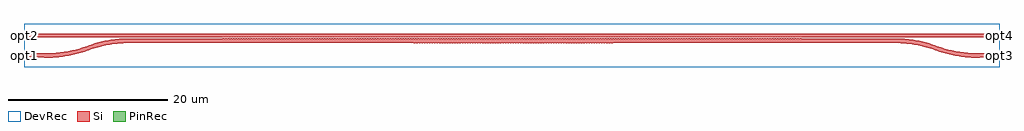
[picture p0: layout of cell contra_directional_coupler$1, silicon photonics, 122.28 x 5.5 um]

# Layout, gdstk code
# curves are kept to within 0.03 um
import gdstk
lib = gdstk.Library(unit=1e-6, precision=1e-09)
def R(c, l, rs):  # rectangles x0, y0, x1, y1
    for r in rs: c.add(gdstk.rectangle(r[:2], r[2:], *l))
def A(c, l, x, y, w, h, nx, ny, dx, dy):  # array of equal rectangles
    R(c, l, [(x+i*dx, y+j*dy, x+i*dx+w, y+j*dy+h) for i in range(nx) for j in range(ny)])
def P(c, l, *ps):  # polygons
    for p in ps: c.add(gdstk.Polygon(p, *l))
Si = (1, 0)
PinRec = (1, 10)
DevRec = (68, 0)

contra_directional_coupl = lib.new_cell('contra_directional_coupler$1')
A(contra_directional_coupl, Si, 43.587, -0.64, 0.158, 0.29, 27, 1, 0.317, 0)
A(contra_directional_coupl, Si, 40.1, -0.639, 0.158, 0.289, 11, 1, 0.317, 0)
A(contra_directional_coupl, Si, 52.146, -0.639, 0.158, 0.289, 11, 1, 0.317, 0)
A(contra_directional_coupl, Si, 37.564, -0.638, 0.158, 0.288, 8, 1, 0.317, 0)
A(contra_directional_coupl, Si, 55.633, -0.638, 0.158, 0.288, 8, 1, 0.317, 0)
A(contra_directional_coupl, Si, 35.345, -0.637, 0.158, 0.287, 7, 1, 0.317, 0)
A(contra_directional_coupl, Si, 58.169, -0.637, 0.158, 0.287, 7, 1, 0.317, 0)
A(contra_directional_coupl, Si, 33.443, -0.636, 0.158, 0.286, 6, 1, 0.317, 0)
A(contra_directional_coupl, Si, 60.388, -0.636, 0.158, 0.286, 6, 1, 0.317, 0)
A(contra_directional_coupl, Si, 31.541, -0.635, 0.158, 0.285, 6, 1, 0.317, 0)
A(contra_directional_coupl, Si, 62.29, -0.635, 0.158, 0.285, 6, 1, 0.317, 0)
A(contra_directional_coupl, Si, 29.639, -0.634, 0.158, 0.284, 6, 1, 0.317, 0)
A(contra_directional_coupl, Si, 64.192, -0.634, 0.158, 0.284, 6, 1, 0.317, 0)
A(contra_directional_coupl, Si, 27.737, -0.633, 0.158, 0.283, 6, 1, 0.317, 0)
A(contra_directional_coupl, Si, 66.094, -0.633, 0.158, 0.283, 6, 1, 0.317, 0)
A(contra_directional_coupl, Si, 25.835, -0.632, 0.158, 0.282, 6, 1, 0.317, 0)
A(contra_directional_coupl, Si, 67.996, -0.632, 0.158, 0.282, 6, 1, 0.317, 0)
A(contra_directional_coupl, Si, 23.933, -0.631, 0.158, 0.281, 6, 1, 0.317, 0)
A(contra_directional_coupl, Si, 69.898, -0.631, 0.158, 0.281, 6, 1, 0.317, 0)
A(contra_directional_coupl, Si, 21.397, -0.63, 0.158, 0.28, 8, 1, 0.317, 0)
A(contra_directional_coupl, Si, 71.8, -0.63, 0.158, 0.28, 8, 1, 0.317, 0)
A(contra_directional_coupl, Si, 18.861, -0.629, 0.158, 0.279, 8, 1, 0.317, 0)
A(contra_directional_coupl, Si, 74.336, -0.629, 0.158, 0.279, 8, 1, 0.317, 0)
A(contra_directional_coupl, Si, 15.691, -0.628, 0.158, 0.278, 10, 1, 0.317, 0)
A(contra_directional_coupl, Si, 76.872, -0.628, 0.158, 0.278, 10, 1, 0.317, 0)
A(contra_directional_coupl, Si, 11.57, -0.627, 0.158, 0.277, 13, 1, 0.317, 0)
A(contra_directional_coupl, Si, 80.042, -0.627, 0.158, 0.277, 13, 1, 0.317, 0)
A(contra_directional_coupl, Si, 3.645, -0.626, 0.158, 0.276, 25, 1, 0.317, 0)
A(contra_directional_coupl, Si, 84.163, -0.626, 0.158, 0.276, 25, 1, 0.317, 0)
A(contra_directional_coupl, Si, 0.158, -0.625, 0.158, 0.275, 11, 1, 0.317, 0)
A(contra_directional_coupl, Si, 0.316, -0.625, 0.159, 0.275, 11, 1, 0.317, 0)
A(contra_directional_coupl, Si, 92.088, -0.625, 0.158, 0.275, 10, 1, 0.317, 0)
A(contra_directional_coupl, Si, 92.246, -0.625, 0.159, 0.275, 10, 1, 0.317, 0)
A(contra_directional_coupl, Si, 3.803, -0.624, 0.159, 0.274, 25, 1, 0.317, 0)
A(contra_directional_coupl, Si, 84.321, -0.624, 0.159, 0.274, 25, 1, 0.317, 0)
A(contra_directional_coupl, Si, 11.728, -0.623, 0.159, 0.273, 13, 1, 0.317, 0)
A(contra_directional_coupl, Si, 80.2, -0.623, 0.159, 0.273, 13, 1, 0.317, 0)
A(contra_directional_coupl, Si, 15.849, -0.622, 0.159, 0.272, 10, 1, 0.317, 0)
A(contra_directional_coupl, Si, 77.03, -0.622, 0.159, 0.272, 10, 1, 0.317, 0)
A(contra_directional_coupl, Si, 19.019, -0.621, 0.159, 0.271, 8, 1, 0.317, 0)
A(contra_directional_coupl, Si, 74.494, -0.621, 0.159, 0.271, 8, 1, 0.317, 0)
A(contra_directional_coupl, Si, 21.555, -0.62, 0.159, 0.27, 8, 1, 0.317, 0)
A(contra_directional_coupl, Si, 71.958, -0.62, 0.159, 0.27, 8, 1, 0.317, 0)
A(contra_directional_coupl, Si, 24.091, -0.619, 0.159, 0.269, 6, 1, 0.317, 0)
A(contra_directional_coupl, Si, 70.056, -0.619, 0.159, 0.269, 6, 1, 0.317, 0)
A(contra_directional_coupl, Si, 25.993, -0.618, 0.159, 0.268, 6, 1, 0.317, 0)
A(contra_directional_coupl, Si, 68.154, -0.618, 0.159, 0.268, 6, 1, 0.317, 0)
A(contra_directional_coupl, Si, 27.895, -0.617, 0.159, 0.267, 6, 1, 0.317, 0)
A(contra_directional_coupl, Si, 66.252, -0.617, 0.159, 0.267, 6, 1, 0.317, 0)
A(contra_directional_coupl, Si, 29.797, -0.616, 0.159, 0.266, 6, 1, 0.317, 0)
A(contra_directional_coupl, Si, 64.35, -0.616, 0.159, 0.266, 6, 1, 0.317, 0)
A(contra_directional_coupl, Si, 31.699, -0.615, 0.159, 0.265, 6, 1, 0.317, 0)
A(contra_directional_coupl, Si, 62.448, -0.615, 0.159, 0.265, 6, 1, 0.317, 0)
A(contra_directional_coupl, Si, 33.601, -0.614, 0.159, 0.264, 6, 1, 0.317, 0)
A(contra_directional_coupl, Si, 60.546, -0.614, 0.159, 0.264, 6, 1, 0.317, 0)
A(contra_directional_coupl, Si, 35.503, -0.613, 0.159, 0.263, 7, 1, 0.317, 0)
A(contra_directional_coupl, Si, 58.327, -0.613, 0.159, 0.263, 7, 1, 0.317, 0)
A(contra_directional_coupl, Si, 37.722, -0.612, 0.159, 0.262, 8, 1, 0.317, 0)
A(contra_directional_coupl, Si, 55.791, -0.612, 0.159, 0.262, 8, 1, 0.317, 0)
A(contra_directional_coupl, Si, 40.258, -0.611, 0.159, 0.261, 11, 1, 0.317, 0)
A(contra_directional_coupl, Si, 52.304, -0.611, 0.159, 0.261, 11, 1, 0.317, 0)
A(contra_directional_coupl, Si, 43.745, -0.61, 0.159, 0.26, 27, 1, 0.317, 0)
A(contra_directional_coupl, Si, 0, -0.35, 0.158, 0.275, 11, 1, 0.317, 0)
A(contra_directional_coupl, Si, 0.158, -0.35, 0.159, 0.275, 11, 1, 0.317, 0)
A(contra_directional_coupl, Si, 3.487, -0.35, 0.158, 0.276, 25, 1, 0.317, 0)
A(contra_directional_coupl, Si, 3.645, -0.35, 0.159, 0.274, 25, 1, 0.317, 0)
A(contra_directional_coupl, Si, 11.412, -0.35, 0.158, 0.277, 13, 1, 0.317, 0)
A(contra_directional_coupl, Si, 11.57, -0.35, 0.159, 0.273, 13, 1, 0.317, 0)
A(contra_directional_coupl, Si, 15.533, -0.35, 0.158, 0.278, 10, 1, 0.317, 0)
A(contra_directional_coupl, Si, 15.691, -0.35, 0.159, 0.272, 10, 1, 0.317, 0)
A(contra_directional_coupl, Si, 18.703, -0.35, 0.158, 0.279, 8, 1, 0.317, 0)
A(contra_directional_coupl, Si, 18.861, -0.35, 0.159, 0.271, 8, 1, 0.317, 0)
A(contra_directional_coupl, Si, 21.239, -0.35, 0.158, 0.28, 8, 1, 0.317, 0)
A(contra_directional_coupl, Si, 21.397, -0.35, 0.159, 0.27, 8, 1, 0.317, 0)
A(contra_directional_coupl, Si, 23.775, -0.35, 0.158, 0.281, 6, 1, 0.317, 0)
A(contra_directional_coupl, Si, 23.933, -0.35, 0.159, 0.269, 6, 1, 0.317, 0)
A(contra_directional_coupl, Si, 25.677, -0.35, 0.158, 0.282, 6, 1, 0.317, 0)
A(contra_directional_coupl, Si, 25.835, -0.35, 0.159, 0.268, 6, 1, 0.317, 0)
A(contra_directional_coupl, Si, 27.579, -0.35, 0.158, 0.283, 6, 1, 0.317, 0)
A(contra_directional_coupl, Si, 27.737, -0.35, 0.159, 0.267, 6, 1, 0.317, 0)
A(contra_directional_coupl, Si, 29.481, -0.35, 0.158, 0.284, 6, 1, 0.317, 0)
A(contra_directional_coupl, Si, 29.639, -0.35, 0.159, 0.266, 6, 1, 0.317, 0)
A(contra_directional_coupl, Si, 31.383, -0.35, 0.158, 0.285, 6, 1, 0.317, 0)
A(contra_directional_coupl, Si, 31.541, -0.35, 0.159, 0.265, 6, 1, 0.317, 0)
A(contra_directional_coupl, Si, 33.285, -0.35, 0.158, 0.286, 6, 1, 0.317, 0)
A(contra_directional_coupl, Si, 33.443, -0.35, 0.159, 0.264, 6, 1, 0.317, 0)
A(contra_directional_coupl, Si, 35.187, -0.35, 0.158, 0.287, 7, 1, 0.317, 0)
A(contra_directional_coupl, Si, 35.345, -0.35, 0.159, 0.263, 7, 1, 0.317, 0)
A(contra_directional_coupl, Si, 37.406, -0.35, 0.158, 0.288, 8, 1, 0.317, 0)
A(contra_directional_coupl, Si, 37.564, -0.35, 0.159, 0.262, 8, 1, 0.317, 0)
A(contra_directional_coupl, Si, 39.942, -0.35, 0.158, 0.289, 11, 1, 0.317, 0)
A(contra_directional_coupl, Si, 40.1, -0.35, 0.159, 0.261, 11, 1, 0.317, 0)
A(contra_directional_coupl, Si, 43.429, -0.35, 0.158, 0.29, 27, 1, 0.317, 0)
A(contra_directional_coupl, Si, 43.587, -0.35, 0.159, 0.26, 27, 1, 0.317, 0)
A(contra_directional_coupl, Si, 51.988, -0.35, 0.158, 0.289, 11, 1, 0.317, 0)
A(contra_directional_coupl, Si, 52.146, -0.35, 0.159, 0.261, 11, 1, 0.317, 0)
A(contra_directional_coupl, Si, 55.475, -0.35, 0.158, 0.288, 8, 1, 0.317, 0)
A(contra_directional_coupl, Si, 55.633, -0.35, 0.159, 0.262, 8, 1, 0.317, 0)
A(contra_directional_coupl, Si, 58.011, -0.35, 0.158, 0.287, 7, 1, 0.317, 0)
A(contra_directional_coupl, Si, 58.169, -0.35, 0.159, 0.263, 7, 1, 0.317, 0)
A(contra_directional_coupl, Si, 60.23, -0.35, 0.158, 0.286, 6, 1, 0.317, 0)
A(contra_directional_coupl, Si, 60.388, -0.35, 0.159, 0.264, 6, 1, 0.317, 0)
A(contra_directional_coupl, Si, 62.132, -0.35, 0.158, 0.285, 6, 1, 0.317, 0)
A(contra_directional_coupl, Si, 62.29, -0.35, 0.159, 0.265, 6, 1, 0.317, 0)
A(contra_directional_coupl, Si, 64.034, -0.35, 0.158, 0.284, 6, 1, 0.317, 0)
A(contra_directional_coupl, Si, 64.192, -0.35, 0.159, 0.266, 6, 1, 0.317, 0)
A(contra_directional_coupl, Si, 65.936, -0.35, 0.158, 0.283, 6, 1, 0.317, 0)
A(contra_directional_coupl, Si, 66.094, -0.35, 0.159, 0.267, 6, 1, 0.317, 0)
A(contra_directional_coupl, Si, 67.838, -0.35, 0.158, 0.282, 6, 1, 0.317, 0)
A(contra_directional_coupl, Si, 67.996, -0.35, 0.159, 0.268, 6, 1, 0.317, 0)
A(contra_directional_coupl, Si, 69.74, -0.35, 0.158, 0.281, 6, 1, 0.317, 0)
A(contra_directional_coupl, Si, 69.898, -0.35, 0.159, 0.269, 6, 1, 0.317, 0)
A(contra_directional_coupl, Si, 71.642, -0.35, 0.158, 0.28, 8, 1, 0.317, 0)
A(contra_directional_coupl, Si, 71.8, -0.35, 0.159, 0.27, 8, 1, 0.317, 0)
A(contra_directional_coupl, Si, 74.178, -0.35, 0.158, 0.279, 8, 1, 0.317, 0)
A(contra_directional_coupl, Si, 74.336, -0.35, 0.159, 0.271, 8, 1, 0.317, 0)
A(contra_directional_coupl, Si, 76.714, -0.35, 0.158, 0.278, 10, 1, 0.317, 0)
A(contra_directional_coupl, Si, 76.872, -0.35, 0.159, 0.272, 10, 1, 0.317, 0)
A(contra_directional_coupl, Si, 79.884, -0.35, 0.158, 0.277, 13, 1, 0.317, 0)
A(contra_directional_coupl, Si, 80.042, -0.35, 0.159, 0.273, 13, 1, 0.317, 0)
A(contra_directional_coupl, Si, 84.005, -0.35, 0.158, 0.276, 25, 1, 0.317, 0)
A(contra_directional_coupl, Si, 84.163, -0.35, 0.159, 0.274, 25, 1, 0.317, 0)
A(contra_directional_coupl, Si, 91.93, -0.35, 0.158, 0.275, 11, 1, 0.317, 0)
A(contra_directional_coupl, Si, 92.088, -0.35, 0.159, 0.275, 10, 1, 0.317, 0)
A(contra_directional_coupl, Si, 42.161, 0.056, 0.158, 0.244, 17, 1, 0.317, 0)
A(contra_directional_coupl, Si, 47.867, 0.056, 0.158, 0.244, 17, 1, 0.317, 0)
A(contra_directional_coupl, Si, 39.942, 0.057, 0.158, 0.243, 7, 1, 0.317, 0)
A(contra_directional_coupl, Si, 53.256, 0.057, 0.158, 0.243, 7, 1, 0.317, 0)
A(contra_directional_coupl, Si, 38.04, 0.058, 0.158, 0.242, 6, 1, 0.317, 0)
A(contra_directional_coupl, Si, 55.475, 0.058, 0.158, 0.242, 6, 1, 0.317, 0)
A(contra_directional_coupl, Si, 36.455, 0.059, 0.158, 0.241, 5, 1, 0.317, 0)
A(contra_directional_coupl, Si, 57.377, 0.059, 0.158, 0.241, 5, 1, 0.317, 0)
A(contra_directional_coupl, Si, 34.87, 0.06, 0.158, 0.24, 5, 1, 0.317, 0)
A(contra_directional_coupl, Si, 58.962, 0.06, 0.158, 0.24, 5, 1, 0.317, 0)
A(contra_directional_coupl, Si, 33.285, 0.061, 0.158, 0.239, 5, 1, 0.317, 0)
A(contra_directional_coupl, Si, 60.547, 0.061, 0.158, 0.239, 5, 1, 0.317, 0)
A(contra_directional_coupl, Si, 32.017, 0.062, 0.158, 0.238, 4, 1, 0.317, 0)
A(contra_directional_coupl, Si, 62.132, 0.062, 0.158, 0.238, 4, 1, 0.317, 0)
A(contra_directional_coupl, Si, 30.432, 0.063, 0.158, 0.237, 5, 1, 0.317, 0)
A(contra_directional_coupl, Si, 63.4, 0.063, 0.158, 0.237, 5, 1, 0.317, 0)
A(contra_directional_coupl, Si, 29.164, 0.064, 0.158, 0.236, 4, 1, 0.317, 0)
A(contra_directional_coupl, Si, 64.985, 0.064, 0.158, 0.236, 4, 1, 0.317, 0)
A(contra_directional_coupl, Si, 27.579, 0.065, 0.158, 0.235, 5, 1, 0.317, 0)
A(contra_directional_coupl, Si, 66.253, 0.065, 0.158, 0.235, 5, 1, 0.317, 0)
A(contra_directional_coupl, Si, 26.311, 0.066, 0.158, 0.234, 4, 1, 0.317, 0)
A(contra_directional_coupl, Si, 67.838, 0.066, 0.158, 0.234, 4, 1, 0.317, 0)
A(contra_directional_coupl, Si, 24.726, 0.067, 0.158, 0.233, 5, 1, 0.317, 0)
A(contra_directional_coupl, Si, 69.106, 0.067, 0.158, 0.233, 5, 1, 0.317, 0)
A(contra_directional_coupl, Si, 23.141, 0.068, 0.158, 0.232, 5, 1, 0.317, 0)
A(contra_directional_coupl, Si, 70.691, 0.068, 0.158, 0.232, 5, 1, 0.317, 0)
A(contra_directional_coupl, Si, 21.239, 0.069, 0.158, 0.231, 6, 1, 0.317, 0)
A(contra_directional_coupl, Si, 72.276, 0.069, 0.158, 0.231, 6, 1, 0.317, 0)
A(contra_directional_coupl, Si, 19.337, 0.07, 0.158, 0.23, 6, 1, 0.317, 0)
A(contra_directional_coupl, Si, 74.178, 0.07, 0.158, 0.23, 6, 1, 0.317, 0)
A(contra_directional_coupl, Si, 17.118, 0.071, 0.158, 0.229, 7, 1, 0.317, 0)
A(contra_directional_coupl, Si, 76.08, 0.071, 0.158, 0.229, 7, 1, 0.317, 0)
A(contra_directional_coupl, Si, 14.582, 0.072, 0.158, 0.228, 8, 1, 0.317, 0)
A(contra_directional_coupl, Si, 78.299, 0.072, 0.158, 0.228, 8, 1, 0.317, 0)
A(contra_directional_coupl, Si, 11.412, 0.073, 0.158, 0.227, 10, 1, 0.317, 0)
A(contra_directional_coupl, Si, 80.835, 0.073, 0.158, 0.227, 10, 1, 0.317, 0)
A(contra_directional_coupl, Si, 6.023, 0.074, 0.158, 0.226, 17, 1, 0.317, 0)
A(contra_directional_coupl, Si, 84.005, 0.074, 0.158, 0.226, 17, 1, 0.317, 0)
A(contra_directional_coupl, Si, 0, 0.075, 0.158, 0.225, 19, 1, 0.317, 0)
A(contra_directional_coupl, Si, 89.394, 0.075, 0.158, 0.225, 19, 1, 0.317, 0)
A(contra_directional_coupl, Si, 0.158, 0.076, 0.159, 0.224, 19, 1, 0.317, 0)
A(contra_directional_coupl, Si, 89.552, 0.076, 0.159, 0.224, 18, 1, 0.317, 0)
A(contra_directional_coupl, Si, 6.181, 0.077, 0.159, 0.223, 17, 1, 0.317, 0)
A(contra_directional_coupl, Si, 84.163, 0.077, 0.159, 0.223, 17, 1, 0.317, 0)
A(contra_directional_coupl, Si, 11.57, 0.078, 0.159, 0.222, 10, 1, 0.317, 0)
A(contra_directional_coupl, Si, 80.993, 0.078, 0.159, 0.222, 10, 1, 0.317, 0)
A(contra_directional_coupl, Si, 14.74, 0.079, 0.159, 0.221, 8, 1, 0.317, 0)
A(contra_directional_coupl, Si, 78.457, 0.079, 0.159, 0.221, 8, 1, 0.317, 0)
A(contra_directional_coupl, Si, 17.276, 0.08, 0.159, 0.22, 7, 1, 0.317, 0)
A(contra_directional_coupl, Si, 76.238, 0.08, 0.159, 0.22, 7, 1, 0.317, 0)
A(contra_directional_coupl, Si, 19.495, 0.081, 0.159, 0.219, 6, 1, 0.317, 0)
A(contra_directional_coupl, Si, 74.336, 0.081, 0.159, 0.219, 6, 1, 0.317, 0)
A(contra_directional_coupl, Si, 21.397, 0.082, 0.159, 0.218, 6, 1, 0.317, 0)
A(contra_directional_coupl, Si, 72.434, 0.082, 0.159, 0.218, 6, 1, 0.317, 0)
A(contra_directional_coupl, Si, 23.299, 0.083, 0.159, 0.217, 5, 1, 0.317, 0)
A(contra_directional_coupl, Si, 70.849, 0.083, 0.159, 0.217, 5, 1, 0.317, 0)
A(contra_directional_coupl, Si, 24.884, 0.084, 0.159, 0.216, 5, 1, 0.317, 0)
A(contra_directional_coupl, Si, 69.264, 0.084, 0.159, 0.216, 5, 1, 0.317, 0)
A(contra_directional_coupl, Si, 26.469, 0.085, 0.159, 0.215, 4, 1, 0.317, 0)
A(contra_directional_coupl, Si, 67.996, 0.085, 0.159, 0.215, 4, 1, 0.317, 0)
A(contra_directional_coupl, Si, 27.737, 0.086, 0.159, 0.214, 5, 1, 0.317, 0)
A(contra_directional_coupl, Si, 66.411, 0.086, 0.159, 0.214, 5, 1, 0.317, 0)
A(contra_directional_coupl, Si, 29.322, 0.087, 0.159, 0.213, 4, 1, 0.317, 0)
A(contra_directional_coupl, Si, 65.143, 0.087, 0.159, 0.213, 4, 1, 0.317, 0)
A(contra_directional_coupl, Si, 30.59, 0.088, 0.159, 0.212, 5, 1, 0.317, 0)
A(contra_directional_coupl, Si, 63.558, 0.088, 0.159, 0.212, 5, 1, 0.317, 0)
A(contra_directional_coupl, Si, 32.175, 0.089, 0.159, 0.211, 4, 1, 0.317, 0)
A(contra_directional_coupl, Si, 62.29, 0.089, 0.159, 0.211, 4, 1, 0.317, 0)
A(contra_directional_coupl, Si, 33.443, 0.09, 0.159, 0.21, 5, 1, 0.317, 0)
A(contra_directional_coupl, Si, 60.705, 0.09, 0.159, 0.21, 5, 1, 0.317, 0)
A(contra_directional_coupl, Si, 35.028, 0.091, 0.159, 0.209, 5, 1, 0.317, 0)
A(contra_directional_coupl, Si, 59.12, 0.091, 0.159, 0.209, 5, 1, 0.317, 0)
A(contra_directional_coupl, Si, 36.613, 0.092, 0.159, 0.208, 5, 1, 0.317, 0)
A(contra_directional_coupl, Si, 57.535, 0.092, 0.159, 0.208, 5, 1, 0.317, 0)
A(contra_directional_coupl, Si, 38.198, 0.093, 0.159, 0.207, 6, 1, 0.317, 0)
A(contra_directional_coupl, Si, 55.633, 0.093, 0.159, 0.207, 6, 1, 0.317, 0)
A(contra_directional_coupl, Si, 40.1, 0.094, 0.159, 0.206, 7, 1, 0.317, 0)
A(contra_directional_coupl, Si, 53.414, 0.094, 0.159, 0.206, 7, 1, 0.317, 0)
A(contra_directional_coupl, Si, 42.319, 0.095, 0.159, 0.205, 35, 1, 0.317, 0)
A(contra_directional_coupl, Si, 0.158, 0.3, 0.158, 0.225, 19, 1, 0.317, 0)
A(contra_directional_coupl, Si, 0.316, 0.3, 0.159, 0.224, 19, 1, 0.317, 0)
A(contra_directional_coupl, Si, 6.181, 0.3, 0.158, 0.226, 17, 1, 0.317, 0)
A(contra_directional_coupl, Si, 6.339, 0.3, 0.159, 0.223, 17, 1, 0.317, 0)
A(contra_directional_coupl, Si, 11.57, 0.3, 0.158, 0.227, 10, 1, 0.317, 0)
A(contra_directional_coupl, Si, 11.728, 0.3, 0.159, 0.222, 10, 1, 0.317, 0)
A(contra_directional_coupl, Si, 14.74, 0.3, 0.158, 0.228, 8, 1, 0.317, 0)
A(contra_directional_coupl, Si, 14.898, 0.3, 0.159, 0.221, 8, 1, 0.317, 0)
A(contra_directional_coupl, Si, 17.276, 0.3, 0.158, 0.229, 7, 1, 0.317, 0)
A(contra_directional_coupl, Si, 17.434, 0.3, 0.159, 0.22, 7, 1, 0.317, 0)
A(contra_directional_coupl, Si, 19.495, 0.3, 0.158, 0.23, 6, 1, 0.317, 0)
A(contra_directional_coupl, Si, 19.653, 0.3, 0.159, 0.219, 6, 1, 0.317, 0)
A(contra_directional_coupl, Si, 21.397, 0.3, 0.158, 0.231, 6, 1, 0.317, 0)
A(contra_directional_coupl, Si, 21.555, 0.3, 0.159, 0.218, 6, 1, 0.317, 0)
A(contra_directional_coupl, Si, 23.299, 0.3, 0.158, 0.232, 5, 1, 0.317, 0)
A(contra_directional_coupl, Si, 23.457, 0.3, 0.159, 0.217, 5, 1, 0.317, 0)
A(contra_directional_coupl, Si, 24.884, 0.3, 0.158, 0.233, 5, 1, 0.317, 0)
A(contra_directional_coupl, Si, 25.042, 0.3, 0.159, 0.216, 5, 1, 0.317, 0)
A(contra_directional_coupl, Si, 26.469, 0.3, 0.158, 0.234, 4, 1, 0.317, 0)
A(contra_directional_coupl, Si, 26.627, 0.3, 0.159, 0.215, 4, 1, 0.317, 0)
A(contra_directional_coupl, Si, 27.737, 0.3, 0.158, 0.235, 5, 1, 0.317, 0)
A(contra_directional_coupl, Si, 27.895, 0.3, 0.159, 0.214, 5, 1, 0.317, 0)
A(contra_directional_coupl, Si, 29.322, 0.3, 0.158, 0.236, 4, 1, 0.317, 0)
A(contra_directional_coupl, Si, 29.48, 0.3, 0.159, 0.213, 4, 1, 0.317, 0)
A(contra_directional_coupl, Si, 30.59, 0.3, 0.158, 0.237, 5, 1, 0.317, 0)
A(contra_directional_coupl, Si, 30.748, 0.3, 0.159, 0.212, 5, 1, 0.317, 0)
A(contra_directional_coupl, Si, 32.175, 0.3, 0.158, 0.238, 4, 1, 0.317, 0)
A(contra_directional_coupl, Si, 32.333, 0.3, 0.159, 0.211, 4, 1, 0.317, 0)
A(contra_directional_coupl, Si, 33.443, 0.3, 0.158, 0.239, 5, 1, 0.317, 0)
A(contra_directional_coupl, Si, 33.601, 0.3, 0.159, 0.21, 5, 1, 0.317, 0)
A(contra_directional_coupl, Si, 35.028, 0.3, 0.158, 0.24, 5, 1, 0.317, 0)
A(contra_directional_coupl, Si, 35.186, 0.3, 0.159, 0.209, 5, 1, 0.317, 0)
A(contra_directional_coupl, Si, 36.613, 0.3, 0.158, 0.241, 5, 1, 0.317, 0)
A(contra_directional_coupl, Si, 36.771, 0.3, 0.159, 0.208, 5, 1, 0.317, 0)
A(contra_directional_coupl, Si, 38.198, 0.3, 0.158, 0.242, 6, 1, 0.317, 0)
A(contra_directional_coupl, Si, 38.356, 0.3, 0.159, 0.207, 6, 1, 0.317, 0)
A(contra_directional_coupl, Si, 40.1, 0.3, 0.158, 0.243, 7, 1, 0.317, 0)
A(contra_directional_coupl, Si, 40.258, 0.3, 0.159, 0.206, 7, 1, 0.317, 0)
A(contra_directional_coupl, Si, 42.319, 0.3, 0.158, 0.244, 17, 1, 0.317, 0)
A(contra_directional_coupl, Si, 42.477, 0.3, 0.159, 0.205, 35, 1, 0.317, 0)
A(contra_directional_coupl, Si, 48.025, 0.3, 0.158, 0.244, 17, 1, 0.317, 0)
A(contra_directional_coupl, Si, 53.414, 0.3, 0.158, 0.243, 7, 1, 0.317, 0)
A(contra_directional_coupl, Si, 53.572, 0.3, 0.159, 0.206, 7, 1, 0.317, 0)
A(contra_directional_coupl, Si, 55.633, 0.3, 0.158, 0.242, 6, 1, 0.317, 0)
A(contra_directional_coupl, Si, 55.791, 0.3, 0.159, 0.207, 6, 1, 0.317, 0)
A(contra_directional_coupl, Si, 57.535, 0.3, 0.158, 0.241, 5, 1, 0.317, 0)
A(contra_directional_coupl, Si, 57.693, 0.3, 0.159, 0.208, 5, 1, 0.317, 0)
A(contra_directional_coupl, Si, 59.12, 0.3, 0.158, 0.24, 5, 1, 0.317, 0)
A(contra_directional_coupl, Si, 59.278, 0.3, 0.159, 0.209, 5, 1, 0.317, 0)
A(contra_directional_coupl, Si, 60.705, 0.3, 0.158, 0.239, 5, 1, 0.317, 0)
A(contra_directional_coupl, Si, 60.863, 0.3, 0.159, 0.21, 5, 1, 0.317, 0)
A(contra_directional_coupl, Si, 62.29, 0.3, 0.158, 0.238, 4, 1, 0.317, 0)
A(contra_directional_coupl, Si, 62.448, 0.3, 0.159, 0.211, 4, 1, 0.317, 0)
A(contra_directional_coupl, Si, 63.558, 0.3, 0.158, 0.237, 5, 1, 0.317, 0)
A(contra_directional_coupl, Si, 63.716, 0.3, 0.159, 0.212, 5, 1, 0.317, 0)
A(contra_directional_coupl, Si, 65.143, 0.3, 0.158, 0.236, 4, 1, 0.317, 0)
A(contra_directional_coupl, Si, 65.301, 0.3, 0.159, 0.213, 4, 1, 0.317, 0)
A(contra_directional_coupl, Si, 66.411, 0.3, 0.158, 0.235, 5, 1, 0.317, 0)
A(contra_directional_coupl, Si, 66.569, 0.3, 0.159, 0.214, 5, 1, 0.317, 0)
A(contra_directional_coupl, Si, 67.996, 0.3, 0.158, 0.234, 4, 1, 0.317, 0)
A(contra_directional_coupl, Si, 68.154, 0.3, 0.159, 0.215, 4, 1, 0.317, 0)
A(contra_directional_coupl, Si, 69.264, 0.3, 0.158, 0.233, 5, 1, 0.317, 0)
A(contra_directional_coupl, Si, 69.422, 0.3, 0.159, 0.216, 5, 1, 0.317, 0)
A(contra_directional_coupl, Si, 70.849, 0.3, 0.158, 0.232, 5, 1, 0.317, 0)
A(contra_directional_coupl, Si, 71.007, 0.3, 0.159, 0.217, 5, 1, 0.317, 0)
A(contra_directional_coupl, Si, 72.434, 0.3, 0.158, 0.231, 6, 1, 0.317, 0)
A(contra_directional_coupl, Si, 72.592, 0.3, 0.159, 0.218, 6, 1, 0.317, 0)
A(contra_directional_coupl, Si, 74.336, 0.3, 0.158, 0.23, 6, 1, 0.317, 0)
A(contra_directional_coupl, Si, 74.494, 0.3, 0.159, 0.219, 6, 1, 0.317, 0)
A(contra_directional_coupl, Si, 76.238, 0.3, 0.158, 0.229, 7, 1, 0.317, 0)
A(contra_directional_coupl, Si, 76.396, 0.3, 0.159, 0.22, 7, 1, 0.317, 0)
A(contra_directional_coupl, Si, 78.457, 0.3, 0.158, 0.228, 8, 1, 0.317, 0)
A(contra_directional_coupl, Si, 78.615, 0.3, 0.159, 0.221, 8, 1, 0.317, 0)
A(contra_directional_coupl, Si, 80.993, 0.3, 0.158, 0.227, 10, 1, 0.317, 0)
A(contra_directional_coupl, Si, 81.151, 0.3, 0.159, 0.222, 10, 1, 0.317, 0)
A(contra_directional_coupl, Si, 84.163, 0.3, 0.158, 0.226, 17, 1, 0.317, 0)
A(contra_directional_coupl, Si, 84.321, 0.3, 0.159, 0.223, 17, 1, 0.317, 0)
A(contra_directional_coupl, Si, 89.552, 0.3, 0.158, 0.225, 18, 1, 0.317, 0)
A(contra_directional_coupl, Si, 89.71, 0.3, 0.159, 0.224, 18, 1, 0.317, 0)
R(contra_directional_coupl, Si, [(0,-0.625,0.158,-0.35), (47.55,0.055,47.708,0.3), (-5.5,0.075,0,0.525), (95.258,0.075,100.758,0.525), (0,0.3,0.158,0.525), (47.708,0.3,47.866,0.545)])
P(contra_directional_coupl, Si, [(105.944,-2.475),(104.406,-2.397),(102.884,-2.165),(101.638,-1.855),(99.485,-1.154),(98.036,-0.833),(96.561,-0.658),(95.258,-0.625),(95.258,-0.075),(96.854,-0.129),(98.128,-0.29),(99.631,-0.624),(101.793,-1.328),(102.994,-1.626),(104.708,-1.873),(106.258,-1.925),(106.258,-2.475)],
  [(106.258,-2.475),(106.258,-1.925),(108.758,-1.95),(108.758,-2.45)],
  [(108.758,0.05),(100.758,0.075),(100.758,0.525),(108.758,0.55)],
  [(-11,-2.475),(-11,-1.925),(-9.45,-1.873),(-7.736,-1.626),(-6.535,-1.328),(-4.373,-0.624),(-2.87,-0.29),(-1.596,-0.129),(0,-0.075),(0,-0.625),(-1.55,-0.677),(-3.264,-0.924),(-4.465,-1.222),(-6.627,-1.926),(-8.13,-2.26),(-9.404,-2.421)],
  [(-11,-2.475),(-13.5,-2.45),(-13.5,-1.95),(-11,-1.925)],
  [(-13.5,0.05),(-13.5,0.55),(-5.5,0.525),(-5.5,0.075)])
R(contra_directional_coupl, DevRec, [(-13.5,-3.7,108.758,1.8)])
contra_directional_coupl.add(gdstk.FlexPath([(-13.49,-2.2),(-13.51,-2.2)], 0.5, ends="flush", simple_path=True, layer=1, datatype=10))  # PinRec
contra_directional_coupl.add(gdstk.FlexPath([(-13.49,0.3),(-13.51,0.3)], 0.5, ends="flush", simple_path=True, layer=1, datatype=10))  # PinRec
contra_directional_coupl.add(gdstk.FlexPath([(108.748,-2.2),(108.768,-2.2)], 0.5, ends="flush", simple_path=True, layer=1, datatype=10))  # PinRec
contra_directional_coupl.add(gdstk.FlexPath([(108.748,0.3),(108.768,0.3)], 0.5, ends="flush", simple_path=True, layer=1, datatype=10))  # PinRec
contra_directional_coupl.add(gdstk.Label('opt1', (-13.5,-2.2), layer=1, texttype=10))
contra_directional_coupl.add(gdstk.Label('opt2', (-13.5,0.3), layer=1, texttype=10))
contra_directional_coupl.add(gdstk.Label('opt3', (108.758,-2.2), layer=1, texttype=10))
contra_directional_coupl.add(gdstk.Label('opt4', (108.758,0.3), layer=1, texttype=10))
contra_directional_coupl.add(gdstk.Label('Lumerical_INTERCONNECT_library=Design kits/EBeam', (0,0), layer=68, texttype=0))
contra_directional_coupl.add(gdstk.Label('Component=contra_directional_coupler', (0,0.1), layer=68, texttype=0))

lib.write_gds('contra_directional_coupler_1.gds')
